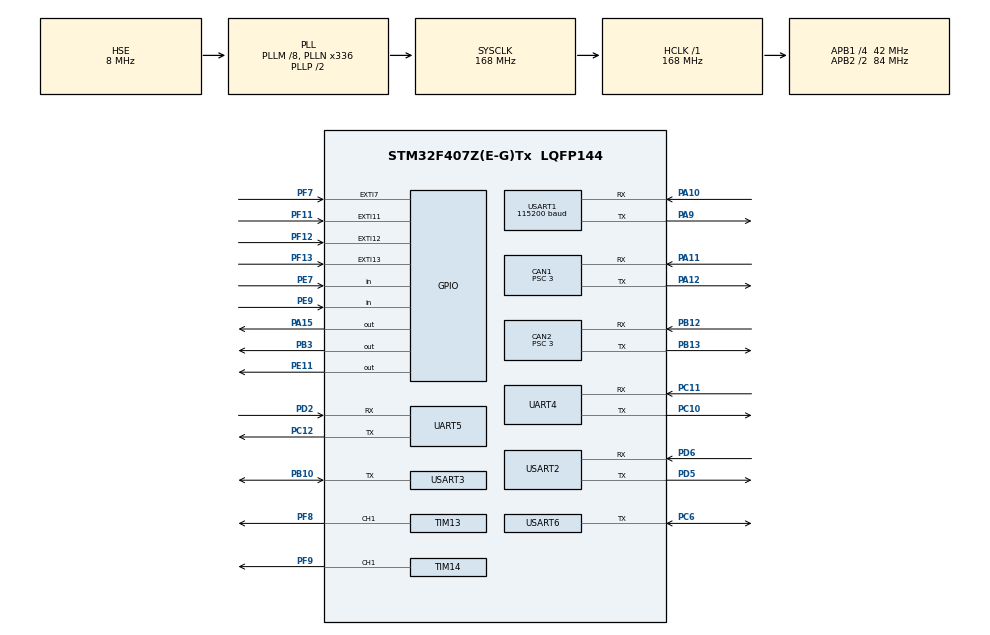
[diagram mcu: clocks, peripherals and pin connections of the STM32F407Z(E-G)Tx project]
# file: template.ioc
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CAN1.ABOM=ENABLE
CAN1.BS1=CAN_BS1_9TQ
CAN1.BS2=CAN_BS2_4TQ
CAN1.CalculateBaudRate=1000000
CAN1.CalculateTimeBit=1000
CAN1.CalculateTimeQuantum=71.42857142857143
CAN1.NART=DISABLE
CAN1.Prescaler=3
CAN2.ABOM=ENABLE
CAN2.BS1=CAN_BS1_9TQ
CAN2.BS2=CAN_BS2_4TQ
CAN2.CalculateBaudRate=1000000
CAN2.CalculateTimeBit=1000
CAN2.CalculateTimeQuantum=71.42857142857143
CAN2.NART=DISABLE
CAN2.Prescaler=3
FREERTOS.Tasks01=defaultTask,29,128,StartDefaultTask,Default,NULL,Dynamic,NULL,NULL;move_base_task,26,128,move_base,Default,NULL,Dynamic,NULL,NULL;Robot_state_tas,28,128,Robot_state,Default,NULL,Dynamic,NULL,NULL;Auto_task,27,128,Auto,Default,NULL,Dynamic,NULL,NULL;data_update_tas,48,128,data_update,Default,NULL,Dynamic,NULL,NULL;motor_control_t,27,128,motor_control,Default,NULL,Dynamic,NULL,NULL;SHOWTask07,49,128,StartTask07,Default,NULL,Dynamic,NULL,NULL
Mcu.Family=STM32F4
Mcu.Name=STM32F407Z(E-G)Tx
Mcu.Package=LQFP144
NVIC.CAN1_RX0_IRQn=true\:2\:0\:true\:false\:true\:false\:true\:true\:true
NVIC.CAN1_RX1_IRQn=true\:2\:0\:true\:false\:true\:false\:true\:true\:true
NVIC.CAN1_SCE_IRQn=true\:2\:0\:true\:false\:true\:false\:true\:true\:true
NVIC.CAN1_TX_IRQn=true\:2\:0\:true\:false\:true\:false\:true\:true\:true
NVIC.CAN2_RX0_IRQn=true\:5\:0\:false\:false\:true\:true\:true\:true\:true
NVIC.CAN2_RX1_IRQn=true\:5\:0\:false\:false\:true\:true\:true\:true\:true
NVIC.CAN2_SCE_IRQn=true\:5\:0\:false\:false\:true\:true\:true\:true\:true
NVIC.CAN2_TX_IRQn=true\:5\:0\:false\:false\:true\:true\:true\:true\:true
NVIC.EXTI15_10_IRQn=true\:5\:0\:false\:false\:true\:true\:true\:true\:true
NVIC.EXTI9_5_IRQn=true\:2\:0\:true\:false\:true\:false\:true\:true\:true
NVIC.PriorityGroup=NVIC_PRIORITYGROUP_4
NVIC.TIM2_IRQn=true\:5\:0\:false\:false\:true\:true\:true\:true\:true
NVIC.UART4_IRQn=true\:5\:0\:false\:false\:true\:true\:true\:true\:true
NVIC.USART1_IRQn=true\:5\:0\:false\:false\:true\:true\:true\:true\:true
NVIC.USART2_IRQn=true\:5\:0\:false\:false\:true\:true\:true\:true\:true
PA10.Mode=Asynchronous
PA10.Signal=USART1_RX
PA11.Mode=CAN_Activate
PA11.Signal=CAN1_RX
PA12.Mode=CAN_Activate
PA12.Signal=CAN1_TX
PA13.Mode=Serial_Wire
PA13.Signal=SYS_JTMS-SWDIO
PA14.Mode=Serial_Wire
PA14.Signal=SYS_JTCK-SWCLK
PA15.Signal=GPIO_Output
PA9.Mode=Asynchronous
PA9.Signal=USART1_TX
PB10.Mode=Half_duplex(single_wire_mode)
PB10.Signal=USART3_TX
PB12.Mode=CAN_Activate
PB12.Signal=CAN2_RX
PB13.Mode=CAN_Activate
PB13.Signal=CAN2_TX
PB3.Signal=GPIO_Output
PC10.Mode=Asynchronous
PC10.Signal=UART4_TX
PC11.Mode=Asynchronous
PC11.Signal=UART4_RX
PC12.Mode=Asynchronous
PC12.Signal=UART5_TX
PC14-OSC32_IN.Mode=LSE-External-Oscillator
PC14-OSC32_IN.Signal=RCC_OSC32_IN
PC15-OSC32_OUT.Mode=LSE-External-Oscillator
PC15-OSC32_OUT.Signal=RCC_OSC32_OUT
PC6.Mode=Half_duplex(single_wire_mode)
PC6.Signal=USART6_TX
PD2.Mode=Asynchronous
PD2.Signal=UART5_RX
PD5.Mode=Asynchronous
PD5.Signal=USART2_TX
PD6.Mode=Asynchronous
PD6.Signal=USART2_RX
PE11.Signal=GPIO_Output
PE7.GPIO_PuPd=GPIO_NOPULL
PE7.Signal=GPIO_Input
PE9.GPIO_PuPd=GPIO_NOPULL
PE9.Signal=GPIO_Input
PF11.GPIO_ModeDefaultEXTI=GPIO_MODE_IT_RISING_FALLING
PF11.Signal=GPXTI11
PF12.GPIO_ModeDefaultEXTI=GPIO_MODE_IT_RISING_FALLING
PF12.Signal=GPXTI12
PF13.GPIO_ModeDefaultEXTI=GPIO_MODE_IT_RISING_FALLING
PF13.Signal=GPXTI13
PF7.GPIO_PuPd=GPIO_NOPULL
PF7.Signal=GPXTI7
PF8.Signal=S_TIM13_CH1
PF9.Signal=S_TIM14_CH1
PH0-OSC_IN.Mode=HSE-External-Oscillator
PH0-OSC_IN.Signal=RCC_OSC_IN
PH1-OSC_OUT.Mode=HSE-External-Oscillator
PH1-OSC_OUT.Signal=RCC_OSC_OUT
ProjectManager.HeapSize=0x200
ProjectManager.StackSize=0x400
ProjectManager.TargetToolchain=MDK-ARM V5.27
RCC.48MHZClocksFreq_Value=84000000
RCC.AHBFreq_Value=168000000
RCC.APB1CLKDivider=RCC_HCLK_DIV4
RCC.APB1Freq_Value=42000000
RCC.APB1TimFreq_Value=84000000
RCC.APB2CLKDivider=RCC_HCLK_DIV2
RCC.APB2Freq_Value=84000000
RCC.APB2TimFreq_Value=168000000
RCC.CortexFreq_Value=168000000
RCC.HCLKFreq_Value=168000000
RCC.HSE_VALUE=8000000
RCC.HSI_VALUE=16000000
RCC.PLLM=8
RCC.PLLN=336
RCC.PLLSourceVirtual=RCC_PLLSOURCE_HSE
RCC.SYSCLKFreq_VALUE=168000000
RCC.SYSCLKSource=RCC_SYSCLKSOURCE_PLLCLK
RCC.VCOOutputFreq_Value=336000000
SH.S_TIM13_CH1.0=TIM13_CH1,PWM Generation1 CH1
SH.S_TIM14_CH1.0=TIM14_CH1,PWM Generation1 CH1
STMicroelectronics.X-CUBE-ALGOBUILD.1.3.0.LibraryCcDSPOoLibraryJjDSPOoLibrary=true
TIM13.Channel=TIM_CHANNEL_1
TIM13.Period=19999
TIM13.Prescaler=83
TIM13.Pulse=50
TIM14.Channel=TIM_CHANNEL_1
TIM14.Period=19999
TIM14.Prescaler=83
TIM14.Pulse=50
TIM2.AutoReloadPreload=TIM_AUTORELOAD_PRELOAD_ENABLE
TIM2.Period=10000
TIM2.Prescaler=83
UART4.VirtualMode=Asynchronous
UART5.VirtualMode=Asynchronous
USART1.BaudRate=115200
USART1.VirtualMode=VM_ASYNC
USART2.VirtualMode=VM_ASYNC
USART3.VirtualMode=VM_ASYNC
USART6.VirtualMode=VM_ASYNC
VP_FREERTOS_VS_CMSIS_V2.Mode=CMSIS_V2
VP_STMicroelectronics.X-CUBE-ALGOBUILD_VS_DSPOoLibraryJjLibrary_1.3.0_1.3.0.Mode=DSPOoLibraryJjLibrary
VP_TIM13_VS_ClockSourceINT.Mode=Enable_Timer
VP_TIM14_VS_ClockSourceINT.Mode=Enable_Timer
VP_TIM2_VS_ClockSourceINT.Mode=Internal
board=custom

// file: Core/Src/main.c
/* USER CODE BEGIN Header */
//下面的注释一个都不要删，防止重新配置导致代码缺失
/**
  ******************************************************************************
  * @file           : main.c
  * @brief          : Main program body
  ******************************************************************************
  * @attention
  *
  * <h2><center>&copy; Copyright (c) 2023 STMicroelectronics.
  * All rights reserved.</center></h2>
  *
  * This software component is licensed by ST under Ultimate Liberty license
  * SLA0044, the "License"; You may not use this file except in compliance with
  * the License. You may obtain a copy of the License at:
  *                             www.st.com/SLA0044
  *
  ******************************************************************************
  */
/* USER CODE END Header */
#include "main.h"
#include "cmsis_os.h"
#include "can.h"
#include "tim.h"
#include "usart.h"
#include "gpio.h"

/* USER CODE BEGIN Includes */
#include "moto.h"
#include "MIT.h"
#include "HareWare.h"
#include "comunication.h"
#include "FSM.h"
#include "Communication_STM32.h"
/* USER CODE END Includes */

void SystemClock_Config(void);
void MX_FREERTOS_Init(void);

int main(void)
{

  /* MCU Configuration--------------------------------------------------------*/

  /* Reset of all peripherals, Initializes the Flash interface and the Systick. */
  HAL_Init();

  /* Configure the system clock */
  SystemClock_Config();

  /* Initialize all configured peripherals */
  MX_GPIO_Init();
  MX_CAN1_Init();
  MX_CAN2_Init();
  MX_UART4_Init();
  MX_UART5_Init();
  MX_USART1_UART_Init();
  MX_USART2_UART_Init();
  MX_USART3_UART_Init();
  MX_USART6_UART_Init();
  MX_TIM2_Init();
  MX_TIM13_Init();
  MX_TIM14_Init();
  /* USER CODE BEGIN 2 */

	HAL_TIM_Base_Start_IT(&htim2);
	HAL_CAN_Start(&hcan1);
	HAL_CAN_Start(&hcan2);

  HAL_TIM_PWM_Start(&htim13,TIM_CHANNEL_1);

  HAL_TIM_PWM_Start(&htim14,TIM_CHANNEL_1);

	HAL_UART_Receive_IT(&huart4, &UART4_Receiver, 1);
  HAL_UART_Receive_IT(&huart1, &USART1_Receiver, 1);
	HAL_UART_Receive_IT(&huart2, &USART_Receiver2, 1);

  M3508_Motor_Init();
	m2006_init();
	DM43_Init();
	FSM_Init();
	Move_Init();//pid参数

//	MotorInit();
  /* USER CODE END 2 */

  /* Init scheduler */
  osKernelInitialize();  /* Call init function for freertos objects (in freertos.c) */
  MX_FREERTOS_Init();
  /* Start scheduler */
  osKernelStart();

  /* We should never get here as control is now taken by the scheduler */
  /* Infinite loop */
  while (1)
  {
		STM32_WRITE_TO_ROS(1, 2, 3, 4, 5, 6, 7, 8, 9, 10);
  }
}

void SystemClock_Config(void)
{
  RCC_OscInitTypeDef RCC_OscInitStruct = {0};
  RCC_ClkInitTypeDef RCC_ClkInitStruct = {0};

  /** Configure the main internal regulator output voltage
  */
  __HAL_RCC_PWR_CLK_ENABLE();
  __HAL_PWR_VOLTAGESCALING_CONFIG(PWR_REGULATOR_VOLTAGE_SCALE1);
  /** Initializes the RCC Oscillators according to the specified parameters
  * in the RCC_OscInitTypeDef structure.
  */
  RCC_OscInitStruct.OscillatorType = RCC_OSCILLATORTYPE_HSE;
  RCC_OscInitStruct.HSEState = RCC_HSE_ON;
  RCC_OscInitStruct.PLL.PLLState = RCC_PLL_ON;
  RCC_OscInitStruct.PLL.PLLSource = RCC_PLLSOURCE_HSE;
  RCC_OscInitStruct.PLL.PLLM = 8;
  RCC_OscInitStruct.PLL.PLLN = 336;
  RCC_OscInitStruct.PLL.PLLP = RCC_PLLP_DIV2;
  RCC_OscInitStruct.PLL.PLLQ = 4;
  if (HAL_RCC_OscConfig(&RCC_OscInitStruct) != HAL_OK)
  {
    Error_Handler();
  }
  /** Initializes the CPU, AHB and APB buses clocks
  */
  RCC_ClkInitStruct.ClockType = RCC_CLOCKTYPE_HCLK|RCC_CLOCKTYPE_SYSCLK
                              |RCC_CLOCKTYPE_PCLK1|RCC_CLOCKTYPE_PCLK2;
  RCC_ClkInitStruct.SYSCLKSource = RCC_SYSCLKSOURCE_PLLCLK;
  RCC_ClkInitStruct.AHBCLKDivider = RCC_SYSCLK_DIV1;
  RCC_ClkInitStruct.APB1CLKDivider = RCC_HCLK_DIV4;
  RCC_ClkInitStruct.APB2CLKDivider = RCC_HCLK_DIV2;

  if (HAL_RCC_ClockConfig(&RCC_ClkInitStruct, FLASH_LATENCY_5) != HAL_OK)
  {
    Error_Handler();
  }
}

void Error_Handler(void)
{
  __disable_irq();
  while (1)
  {
  }
}

/************************ (C) COPYRIGHT STMicroelectronics *****END OF FILE****/

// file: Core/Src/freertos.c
/* USER CODE BEGIN Header */
/**
  ******************************************************************************
  * File Name          : freertos.c
  * Description        : Code for freertos applications
  ******************************************************************************
  * @attention
  *
  * <h2><center>&copy; Copyright (c) 2023 STMicroelectronics.
  * All rights reserved.</center></h2>
  *
  * This software component is licensed by ST under Ultimate Liberty license
  * SLA0044, the "License"; You may not use this file except in compliance with
  * the License. You may obtain a copy of the License at:
  *                             www.st.com/SLA0044
  *
  ******************************************************************************
  */
/* USER CODE END Header */

#include "FreeRTOS.h"
#include "task.h"
#include "main.h"
#include "cmsis_os.h"

/* USER CODE BEGIN Includes */
#include "moto.h"
#include "MIT.h"
#include "calculation.h"
#include "HareWare.h"
#include "MoveBase.h"
#include "DataScope_DP.h"
#include "FSM.h"
#include "tim.h"
#include "comunication.h"
#include "Communication_STM32.h"
#include "robot.h"
/* USER CODE END Includes */

/* USER CODE BEGIN PD */
short v;
short th;
unsigned char i;          //计数变量
unsigned char Send_Count; //串口需要发送的数据个数
static float a;
/* USER CODE END PD */

/* Definitions for defaultTask */
osThreadId_t defaultTaskHandle;
const osThreadAttr_t defaultTask_attributes = {
  .name = "defaultTask",
  .stack_size = 128 * 4,
  .priority = (osPriority_t) osPriorityNormal5,
};
/* Definitions for move_base_task */
osThreadId_t move_base_taskHandle;
const osThreadAttr_t move_base_task_attributes = {
  .name = "move_base_task",
  .stack_size = 128 * 4,
  .priority = (osPriority_t) osPriorityNormal2,
};
/* Definitions for Robot_state_tas */
osThreadId_t Robot_state_tasHandle;
const osThreadAttr_t Robot_state_tas_attributes = {
  .name = "Robot_state_tas",
  .stack_size = 128 * 4,
  .priority = (osPriority_t) osPriorityNormal4,
};
/* Definitions for Auto_task */
osThreadId_t Auto_taskHandle;
const osThreadAttr_t Auto_task_attributes = {
  .name = "Auto_task",
  .stack_size = 128 * 4,
  .priority = (osPriority_t) osPriorityNormal3,
};
/* Definitions for data_update_tas */
osThreadId_t data_update_tasHandle;
const osThreadAttr_t data_update_tas_attributes = {
  .name = "data_update_tas",
  .stack_size = 128 * 4,
  .priority = (osPriority_t) osPriorityRealtime,
};
/* Definitions for motor_control_t */
osThreadId_t motor_control_tHandle;
const osThreadAttr_t motor_control_t_attributes = {
  .name = "motor_control_t",
  .stack_size = 128 * 4,
  .priority = (osPriority_t) osPriorityNormal3,
};
/* Definitions for SHOWTask07 */
osThreadId_t SHOWTask07Handle;
const osThreadAttr_t SHOWTask07_attributes = {
  .name = "SHOWTask07",
  .stack_size = 128 * 4,
  .priority = (osPriority_t) osPriorityRealtime1,
};

void StartDefaultTask(void *argument);
void move_base(void *argument);
void Robot_state(void *argument);
void Auto(void *argument);
void data_update(void *argument);
void motor_control(void *argument);
void StartTask07(void *argument);

void MX_FREERTOS_Init(void); /* (MISRA C 2004 rule 8.1) */

void MX_FREERTOS_Init(void) {

  /* Create the thread(s) */
  /* creation of defaultTask */
  defaultTaskHandle = osThreadNew(StartDefaultTask, NULL, &defaultTask_attributes);

  /* creation of move_base_task */
  move_base_taskHandle = osThreadNew(move_base, NULL, &move_base_task_attributes);

  /* creation of Robot_state_tas */
  Robot_state_tasHandle = osThreadNew(Robot_state, NULL, &Robot_state_tas_attributes);

  /* creation of Auto_task */
  Auto_taskHandle = osThreadNew(Auto, NULL, &Auto_task_attributes);

  /* creation of data_update_tas */
  data_update_tasHandle = osThreadNew(data_update, NULL, &data_update_tas_attributes);

  /* creation of motor_control_t */
  motor_control_tHandle = osThreadNew(motor_control, NULL, &motor_control_t_attributes);

  /* creation of SHOWTask07 */
  SHOWTask07Handle = osThreadNew(StartTask07, NULL, &SHOWTask07_attributes);

}

void StartDefaultTask(void *argument)
{
  /* USER CODE BEGIN StartDefaultTask */
  /* Infinite loop */
	static portTickType move_xLastWakeTime;
	const portTickType move_xFrequency = pdMS_TO_TICKS(10); // 延时10ms
	move_xLastWakeTime = xTaskGetTickCount(); // 获取当前计数值
  for(;;)
  {

		shoot_calculation();

		move();

    vTaskDelayUntil(&move_xLastWakeTime, move_xFrequency); // 绝对延时

  }
  /* USER CODE END StartDefaultTask */
}

void move_base(void *argument)
{
  /* USER CODE BEGIN move_base */

  /* Infinite loop */
  for(;;)
  {
		VelCrl(&MOTOR_REAL_INFO[0],4000);
				VelCrl(&MOTOR_REAL_INFO[1],-4000);
			VelCrl(&MOTOR_REAL_INFO[2],5000);
				VelCrl(&MOTOR_REAL_INFO[3],-5000);

		mit_calculation();
		moto_calculation();//底盘电机计算&&遥控器计算
		osDelay(5);
}
  /* USER CODE END move_base */
}

void Robot_state(void *argument)
{
  /* USER CODE BEGIN Robot_state */
  /* Infinite loop */
  for(;;)
  {

	  	move_FSM();
		shoot_FSM();

		shoot();
		//STM32_WRITE_TO_ROS(1, 1,1,0, 0, 0,0,0,0,0);

//	test();
    osDelay(5);
  }
  /* USER CODE END Robot_state */
}

void Auto(void *argument)
{
  /* USER CODE BEGIN Auto */
//	 static portTickType move_xLastWakeTime;
//	const portTickType move_xFrequency = pdMS_TO_TICKS(10); // 延时10ms
//	move_xLastWakeTime = xTaskGetTickCount(); // 获取当前计数值
  /* Infinite loop */
  for(;;)
  {

		//自动路径和夹取信号
		arm_calculation();
//   vTaskDelayUntil(&move_xLastWakeTime, move_xFrequency); // 绝对延时

		 osDelay(1);
  }
  /* USER CODE END Auto */
}

void data_update(void *argument)
{
  /* USER CODE BEGIN data_update */
  /* Infinite loop */
  for(;;)
  {
		//发送数据给底盘
	Usart4_SendData(Robot_Chassis.World_V[1],Robot_Chassis.World_V[0],Robot_Chassis.World_V[2],ROBOT_FLAG.Chassis_send);//xyw

    osDelay(10);
  }
  /* USER CODE END data_update */
}

void motor_control(void *argument)
{
  /* USER CODE BEGIN motor_control */
  /* Infinite loop */
  for(;;)
  {

//	VelCrl(&MOTOR_REAL_INFO[0],7000);

		MotorCtrl();//所有的电机的控制
    osDelay(1);
  }
  /* USER CODE END motor_control */
}

void StartTask07(void *argument)
{
  /* USER CODE BEGIN StartTask07 */
  /* Infinite loop */
  for(;;)
  {

//					a+=0.1;
//			if(a>3.14)  a=-3.14;
//			DataScope_Get_Channel_Data(MOTOR_REAL_INFO[0].TARGET_POS, 1 );
//			DataScope_Get_Channel_Data(MOTOR_REAL_INFO[0].REAL_ANGLE, 2 );
//			DataScope_Get_Channel_Data(MOTOR_REAL_INFO[0].CURRENT, 3 );
//			DataScope_Get_Channel_Data(0 , 4 );
//			DataScope_Get_Channel_Data(0, 5 );
//			DataScope_Get_Channel_Data(0 , 6 );
//			DataScope_Get_Channel_Data(0, 7 );
//			DataScop0e_Get_Channel_Data( 0, 8 );
//			DataScope_Get_Channel_Data(0, 9 );
//			DataScope_Get_Channel_Data( 0 , 10);
//			Send_Count = DataScope_Data_Generate(10);
//			for( i = 0 ; i < Send_Count; i++)
//			{
//			while((USART1->SR&0X40)==0);
//			USART1->DR = DataScope_OutPut_Buffer[i];
//			}
    osDelay(10);
  }
  /* USER CODE END StartTask07 */
}

/************************ (C) COPYRIGHT STMicroelectronics *****END OF FILE****/
